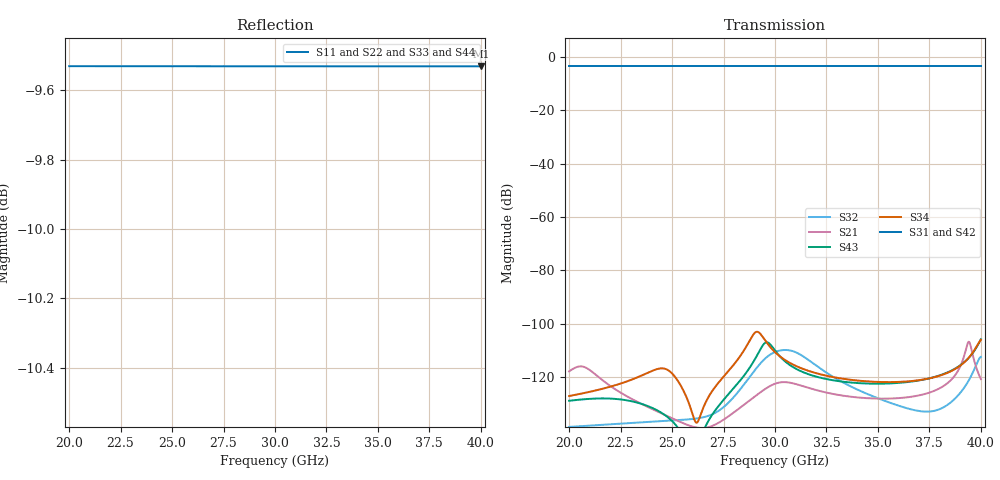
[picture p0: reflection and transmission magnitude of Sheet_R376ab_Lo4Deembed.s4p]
! TOUCHSTONE file generated by CST MICROWAVE STUDIO
! Date and time: Tue Mar 11 16:53:02 2025
! Project name: Sheet_R376ab_Lo4.cst
! Parameters = {Dport=0; Dspace=5.76923; Lamb=11.5385; Rs=376; Xs=0; a=2.88462; b=2.88462; phi=0; theta=0}
! Header version: 2024
! Port assignment regex: !\s*Touchstone port\s*([0-9]+)\s*=\s*(CST MWS port|CST DES external port|CST DES block port)\s*(.+)\s* \(\"(.*)\"\)(\s*mode\s*([0-9]+))?.*
! Touchstone port assignment:
! Touchstone port 1 = CST MWS port Zmax ("") mode 1
! Touchstone port 2 = CST MWS port Zmax ("") mode 2
! Touchstone port 3 = CST MWS port Zmin ("") mode 1
! Touchstone port 4 = CST MWS port Zmin ("") mode 2
# GHz S MA R 376.73
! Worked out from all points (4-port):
!   1001 points, 20 GHz to 40 GHz, reference 376.73 ohm
!   strongest paths, dB at 20 GHz, 25 GHz, 30 GHz, 35 GHz, 40 GHz:
!     S31: -3.5, -3.5, -3.5, -3.5, -3.5
!     S42: -3.5, -3.5, -3.5, -3.5, -3.5
!     S34: -127.0, -118.6, -110.6, -121.8, -106.0
!     S43: -128.8, -136.4, -110.0, -122.4, -105.8
!     S21: -117.8, -135.4, -122.5, -128.0, -120.7
!     S32: -138.6, -136.2, -110.6, -127.9, -112.4
!   lowest |S11| = -9.5 dB at 40 GHz (marker M1), VSWR 2.00, Z = 188 - j0.00318 ohm
!   |S11| at or under -10 dB: nowhere
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20  0.3338 180.0  5.786e-07 -65.7  0.6662 -138.6  5.815e-07 -59.1
    1.285e-06 -68.6  0.3338 180.0  2.623e-07 -89.7  0.6662 -138.6
    0.6662 -138.6  1.172e-07 127.7  0.3338 -97.1  4.443e-07 46.1
    5.502e-07 -30.1  0.6662 -138.6  3.62e-07 67.7  0.3338 -97.1
23.28  0.3338 -180.0  2.467e-07 170.9  0.6663 -161.3  5.706e-07 155.8
       3.51e-07 165.4  0.3338 -180.0  2.159e-07 -149.8  0.6663 -161.3
       0.6663 -161.3  1.416e-07 119.5  0.3353 -142.5  9.8e-07 60.0
       2.151e-07 21.3  0.6663 -161.3  3.364e-07 116.8  0.3353 -142.5
25.92  0.3338 -180.0  5.839e-08 102.4  0.6662 -179.6  1.537e-07 97.8
       1.212e-07 111.0  0.3338 -180.0  7.734e-08 125.2  0.6662 -179.6
       0.6662 -179.6  1.639e-07 92.2  0.3338 -179.1  2.502e-07 139.3
       1.228e-07 55.4  0.6662 -179.6  1.884e-08 -177.9  0.3338 -179.1
28.6  0.3338 -180.0  2.35e-07 -9.7  0.6662 161.9  3.034e-07 2.3
      3.272e-07 -0.4  0.3337 -180.0  3.247e-07 5.2  0.6662 161.9
      0.6662 161.9  8.253e-07 -7.9  0.3336 143.7  3.723e-06 -8.2
      2.165e-07 142.1  0.6662 161.9  1.213e-06 -32.4  0.3335 143.7
31.84  0.3338 -180.0  6.087e-07 -129.6  0.6662 139.4  3.09e-07 162.2
       5.977e-07 -129.9  0.3338 -180.0  3.363e-07 171.3  0.6662 139.4
       0.6662 139.4  1.828e-06 -38.7  0.334 98.8  1.238e-06 -147.2
       2.803e-07 -2.4  0.6662 139.4  1.068e-06 -171.3  0.334 98.8
36.46  0.3338 -180.0  3.926e-07 -165.2  0.6662 107.4  1.558e-07 60.6
       4.218e-07 -163.5  0.3338 -180.0  1.596e-07 67.9  0.6662 107.4
       0.6662 107.4  2.589e-07 4.0  0.3337 34.8  8.353e-07 -158.9
       1.809e-07 32.6  0.6662 107.4  8.128e-07 -166.4  0.3337 34.8
40  0.3338 -180.0  7.629e-07 2.5  0.6662 82.9  1.822e-06 42.4
    9.211e-07 -11.9  0.3338 -180.0  1.92e-06 14.2  0.6662 82.9
    0.6662 82.9  2.396e-06 16.4  0.3338 -14.2  5.008e-06 -112.2
    1.864e-06 43.5  0.6662 82.9  5.156e-06 -119.0  0.3338 -14.2
